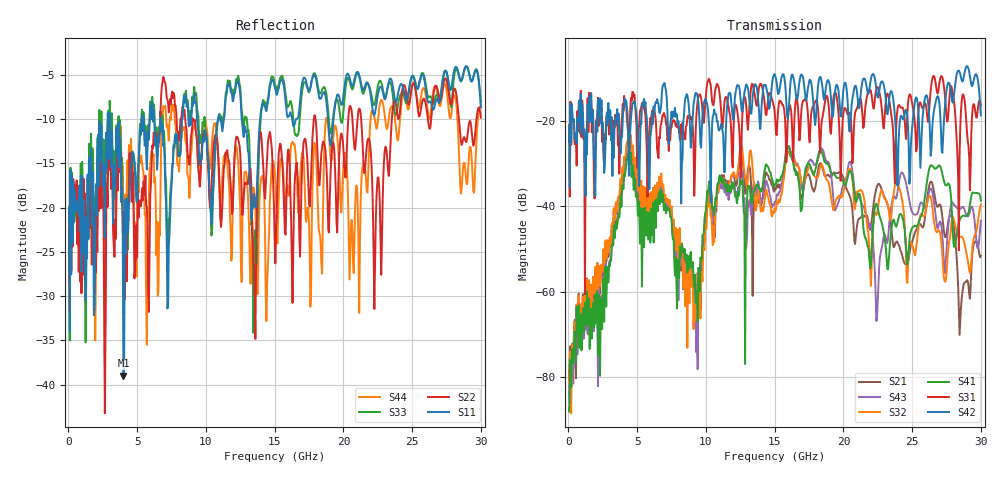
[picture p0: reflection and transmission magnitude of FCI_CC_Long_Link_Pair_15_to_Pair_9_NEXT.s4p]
! FCI USA LLC
! FCI_CC_Long_Link_Pair_15_to_Pair_9_NEXT.s4p
! PART DESCRIPTION: FCI Connector Concept 0.70 m Simulated Channel Model
! FREQUENCY RANGE: 50 MHz to 30 GHz in 50 MHz frequency steps
! PORT DEFINITIONS:
! Port  1  ----->  TX  Pin H4(Side B) -- Pin A5(Side B)  RX  <-----  Port  2
! Port  3  ----->  TX  Pin I4(Side B) -- Pin B5(Side B)  RX  <-----  Port  4
! Information
! FCI endeavors to use its reasonable efforts to place accurate and
! up-to-date information in this Touchstone file.  However, this file is
! provided on an as is basis.  FCI GIVES NO WARRANTY, EXPRESS OR
! IMPLIED, WITH RESPECT TO ANY INFORMATION PROVIDED IN THIS FILE,
! INCLUDING BUT NOT LIMITED TO THE IMPLIED WARRANTIES OF
! MERCHANTABILITY, FITNESS FOR A PARTICULAR PURPOSE OR NON-INFRINGEMENT.
! FCI SHALL NOT BE LIABLE FOR ANY DIRECT, SPECIAL, INDIRECT,
! CONSEQUENTIAL, PUNITIVE OR OTHER DAMAGES BASED ON USE OF THIS FILE.
#	Hz	S	RI	R	50
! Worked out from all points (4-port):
!   600 points, 50 MHz to 30 GHz, reference 50 ohm
!   strongest paths, dB at 50 MHz, 7.55 GHz, 15.05 GHz, 22.55 GHz, 30 GHz:
!     S42: -21.4, -19.4, -9.5, -14.1, -18.7
!     S31: -21.0, -20.3, -20.1, -12.4, -16.3
!     S41: -88.1, -46.4, -34.9, -41.3, -38.7
!     S32: -81.1, -42.6, -41.3, -39.6, -39.6
!     S43: -80.6, -45.1, -39.2, -58.3, -43.4
!     S21: -80.1, -43.6, -36.1, -34.8, -51.7
!   lowest |S11| = -39.0 dB at 4 GHz (marker M1), VSWR 1.02, Z = 50.1 + j1.12 ohm
!   |S11| at or under -10 dB: start of sweep to 2.875 GHz; 3.031 GHz to 5.322 GHz (2.291 GHz wide, 54.9 % of centre); 6.704 GHz to 8.283 GHz (1.579 GHz wide, 21.1 % of centre)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
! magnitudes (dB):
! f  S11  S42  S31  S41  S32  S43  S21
! 50 MHz  -20.1  -21.4  -21.0  -88.1  -81.1  -80.6  -80.1
! 4 GHz  -39.0  -16.7  -17.8  -36.0  -32.9  -35.4  -33.4
! 9.2 GHz  -8.1  -14.1  -32.5  -56.1  -64.1  -58.4  -60.1
! 12.55 GHz  -8.5  -15.7  -33.4  -34.9  -25.8  -32.1  -27.8
! 20.5 GHz  -5.6  -20.5  -18.4  -31.7  -31.3  -29.6  -38.0
! 22.45 GHz  -7.8  -14.0  -12.1  -39.9  -41.6  -65.8  -35.3
! 30 GHz  -8.6  -18.7  -16.3  -38.7  -39.6  -43.4  -51.7
